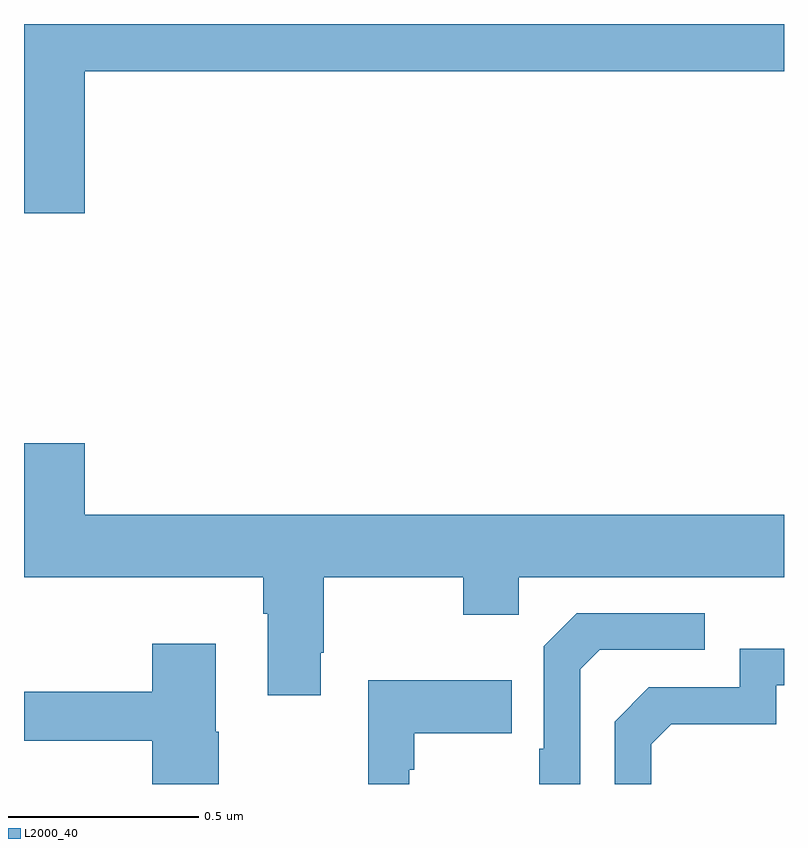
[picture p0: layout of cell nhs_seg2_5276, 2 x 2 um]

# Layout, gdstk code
import gdstk
lib = gdstk.Library(unit=1e-6, precision=1e-09)
def P(c, l, *ps):  # polygons
    for p in ps: c.add(gdstk.Polygon(p, *l))
L2000_40 = (2000, 40)

nhs_seg2_5276 = lib.new_cell('nhs_seg2_5276')
P(nhs_seg2_5276, L2000_40, [(177.16,607.676),(179,607.676),(179,607.8),(177,607.8),(177,607.302),(177.16,607.302)],
  [(177.781,606.145),(177.789,606.145),(177.789,606.344),(178.156,606.344),(178.156,606.245),(178.302,606.245),(178.302,606.344),(179,606.344),(179,606.508),(177.16,606.508),(177.16,606.697),(177,606.697),(177,606.344),(177.629,606.344),(177.629,606.248),(177.641,606.248),(177.641,606.033),(177.781,606.033)],
  [(178.464,606.102),(178.515,606.153),(178.792,606.153),(178.792,606.249),(178.455,606.249),(178.368,606.162),(178.368,605.893),(178.356,605.893),(178.356,605.8),(178.464,605.8)],
  [(177.513,605.937),(177.505,605.937),(177.505,606.169),(177.338,606.169),(177.338,606.043),(177,606.043),(177,605.914),(177.338,605.914),(177.338,605.8),(177.513,605.8)],
  [(178.65,605.904),(178.703,605.957),(178.98,605.957),(178.98,606.06),(179,606.06),(179,606.156),(178.884,606.156),(178.884,606.054),(178.644,606.054),(178.554,605.964),(178.554,605.8),(178.65,605.8)],
  [(178.014,605.837),(178.027,605.837),(178.027,605.933),(178.283,605.933),(178.283,606.073),(177.906,606.073),(177.906,605.8),(178.014,605.8)])

lib.write_gds('nhs_seg2_5276.gds')
